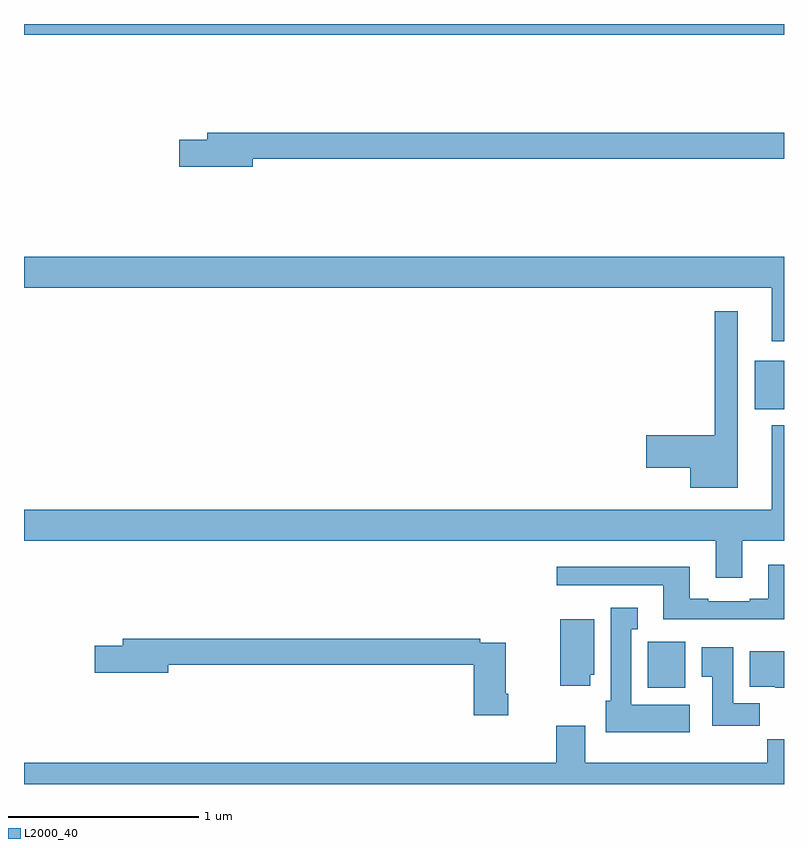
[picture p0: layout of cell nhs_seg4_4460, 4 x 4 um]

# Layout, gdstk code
import gdstk
lib = gdstk.Library(unit=1e-6, precision=1e-09)
def R(c, l, rs):  # rectangles x0, y0, x1, y1
    for r in rs: c.add(gdstk.rectangle(r[:2], r[2:], *l))
def P(c, l, *ps):  # polygons
    for p in ps: c.add(gdstk.Polygon(p, *l))
L2000_40 = (2000, 40)

nhs_seg4_4460 = lib.new_cell('nhs_seg4_4460')
R(nhs_seg4_4460, L2000_40, [(354.284,769.406,354.481,769.648), (354.845,770.873,355,771.127), (351,772.844,355,772.9)])
P(nhs_seg4_4460, L2000_40, [(352.204,772.192),(355,772.192),(355,772.328),(351.965,772.328),(351.965,772.292),(351.816,772.292),(351.816,772.15),(352.204,772.15)],
  [(355,771.676),(351,771.676),(351,771.512),(354.935,771.512),(354.935,771.231),(355,771.231)],
  [(354.757,771.388),(354.636,771.388),(354.636,770.735),(354.276,770.735),(354.276,770.564),(354.506,770.564),(354.506,770.459),(354.757,770.459)],
  [(354.781,770.18),(355,770.18),(355,770.788),(354.935,770.788),(354.935,770.344),(351,770.344),(351,770.18),(354.641,770.18),(354.641,769.986),(354.781,769.986)],
  [(355,770.053),(354.917,770.053),(354.917,769.876),(354.821,769.876),(354.821,769.863),(354.601,769.863),(354.601,769.876),(354.505,769.876),(354.505,770.044),(353.805,770.044),(353.805,769.947),(354.365,769.947),(354.365,769.766),(355,769.766)],
  [(354.505,769.318),(354.196,769.318),(354.196,769.715),(354.229,769.715),(354.229,769.828),(354.089,769.828),(354.089,769.338),(354.062,769.338),(354.062,769.172),(354.505,769.172)],
  [(353.98,769.476),(354.001,769.476),(354.001,769.768),(353.822,769.768),(353.822,769.416),(353.98,769.416)],
  [(353.549,769.375),(353.536,769.375),(353.536,769.644),(353.402,769.644),(353.402,769.664),(351.521,769.664),(351.521,769.628),(351.372,769.628),(351.372,769.486),(351.76,769.486),(351.76,769.528),(353.366,769.528),(353.366,769.263),(353.549,769.263)],
  [(354.872,769.324),(354.733,769.324),(354.733,769.621),(354.566,769.621),(354.566,769.465),(354.623,769.465),(354.623,769.206),(354.872,769.206)],
  [(355,769.6),(354.821,769.6),(354.821,769.412),(354.954,769.412),(354.954,769.406),(355,769.406)],
  [(355,769.136),(354.913,769.136),(354.913,769.012),(353.953,769.012),(353.953,769.207),(353.801,769.207),(353.801,769.012),(351,769.012),(351,768.9),(355,768.9)])

lib.write_gds('nhs_seg4_4460.gds')
